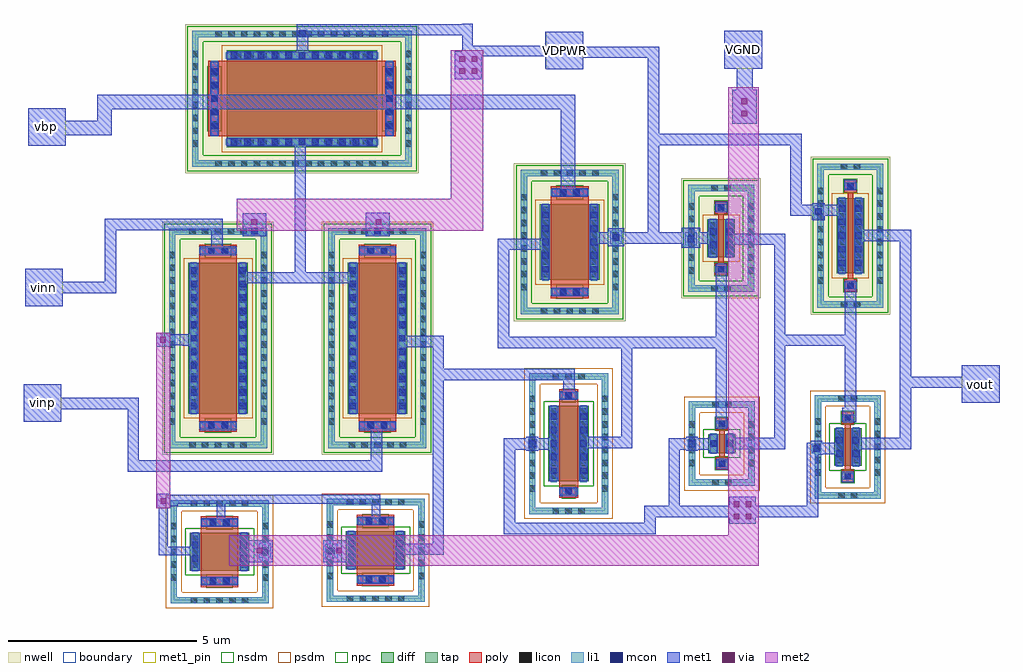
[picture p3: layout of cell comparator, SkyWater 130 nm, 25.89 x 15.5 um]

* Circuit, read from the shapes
.subckt comparator VDPWR VGND vbp vinn vinp vout
XM1 VGND sky130_fd_pr__nfet_01v8_VQB4G3_10/D sky130_fd_pr__nfet_01v8_VQB4G3_10/D VGND sky130_fd_pr__nfet_01v8 w=1 l=1
XM2 sky130_fd_pr__nfet_01v8_SH4ZB3_6/G sky130_fd_pr__nfet_01v8_VQB4G3_10/D VGND VGND sky130_fd_pr__nfet_01v8 w=1 l=1
XM3 sky130_fd_pr__pfet_01v8_7MAPG3_5/D sky130_fd_pr__nfet_01v8_SH4ZB3_6/G VGND VGND sky130_fd_pr__nfet_01v8 w=2 l=0.5
XM4 sky130_fd_pr__nfet_01v8_DQPW2K_1/G sky130_fd_pr__pfet_01v8_7MAPG3_5/D VGND VGND sky130_fd_pr__nfet_01v8 w=0.5 l=0.15
XM5 vout sky130_fd_pr__nfet_01v8_DQPW2K_1/G VGND VGND sky130_fd_pr__nfet_01v8 w=1 l=0.15
XM6 sky130_fd_pr__pfet_01v8_ZWHHE6_7/D vinn sky130_fd_pr__nfet_01v8_VQB4G3_10/D VDPWR sky130_fd_pr__pfet_01v8 w=4 l=1
XM7 VDPWR vbp sky130_fd_pr__pfet_01v8_ZWHHE6_7/D VDPWR sky130_fd_pr__pfet_01v8 w=4 l=2
XM8 sky130_fd_pr__nfet_01v8_SH4ZB3_6/G vinp sky130_fd_pr__pfet_01v8_ZWHHE6_7/D VDPWR sky130_fd_pr__pfet_01v8 w=4 l=1
XM9 VDPWR vbp sky130_fd_pr__pfet_01v8_7MAPG3_5/D VDPWR sky130_fd_pr__pfet_01v8 w=2 l=1
XM10 sky130_fd_pr__nfet_01v8_DQPW2K_1/G sky130_fd_pr__pfet_01v8_7MAPG3_5/D VDPWR VDPWR sky130_fd_pr__pfet_01v8 w=1 l=0.15
XM11 vout sky130_fd_pr__nfet_01v8_DQPW2K_1/G VDPWR VDPWR sky130_fd_pr__pfet_01v8 w=2 l=0.15
.ends

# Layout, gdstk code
from math import pi, radians
import gdstk
lib = gdstk.Library(unit=1e-6, precision=1e-09)
def R(c, l, rs):  # rectangles x0, y0, x1, y1
    for r in rs: c.add(gdstk.rectangle(r[:2], r[2:], *l))
def A(c, l, x, y, w, h, nx, ny, dx, dy):  # array of equal rectangles
    R(c, l, [(x+i*dx, y+j*dy, x+i*dx+w, y+j*dy+h) for i in range(nx) for j in range(ny)])
nwell = (64, 20)
diff = (65, 20)
tap = (65, 44)
poly = (66, 20)
licon = (66, 44)
li1 = (67, 20)
mcon = (67, 44)
met1_pin = (68, 16)
met1 = (68, 20)
via = (68, 44)
met2 = (69, 20)
nsdm = (93, 44)
psdm = (94, 20)
npc = (95, 20)
boundary = (235, 4)

sky130_fd_pr__pfet_01v8_ = lib.new_cell('sky130_fd_pr__pfet_01v8_BNUP93')
R(sky130_fd_pr__pfet_01v8_, nwell, [(-1.98,-3.095,1.98,3.095)])
R(sky130_fd_pr__pfet_01v8_, diff, [(-1.29,-2,1.29,2)])
R(sky130_fd_pr__pfet_01v8_, tap, [(-1.8,-2.915,1.8,-2.745), (-1.8,-2.745,-1.63,2.745), (1.63,-2.745,1.8,2.745), (-1.8,2.745,1.8,2.915)])
R(sky130_fd_pr__pfet_01v8_, poly, [(-1,-2.485,1,2.485)])
A(sky130_fd_pr__pfet_01v8_, licon, -1.275, -2.915, 0.17, 0.17, 8, 2, 0.34, 5.66)
A(sky130_fd_pr__pfet_01v8_, licon, -0.765, -2.405, 0.17, 0.17, 5, 2, 0.34, 4.64)
A(sky130_fd_pr__pfet_01v8_, licon, -1.8, -2.295, 0.17, 0.17, 1, 14, 0, 0.34)
A(sky130_fd_pr__pfet_01v8_, licon, 1.63, -2.295, 0.17, 0.17, 1, 14, 0, 0.34)
A(sky130_fd_pr__pfet_01v8_, licon, -1.23, -1.785, 0.17, 0.17, 1, 11, 0, 0.34)
A(sky130_fd_pr__pfet_01v8_, licon, 1.06, -1.785, 0.17, 0.17, 1, 11, 0, 0.34)
R(sky130_fd_pr__pfet_01v8_, li1, [(-1.8,-2.915,1.8,-2.745), (-1.8,-2.745,-1.63,2.745), (1.63,-2.745,1.8,2.745), (-1,-2.405,1,-2.235), (-1.23,-2.02,-1.06,2.02), (1.06,-2.02,1.23,2.02), (-1,2.235,1,2.405), (-1.8,2.745,1.8,2.915)])
A(sky130_fd_pr__pfet_01v8_, mcon, -0.805, -2.405, 0.17, 0.17, 5, 2, 0.36, 4.64)
A(sky130_fd_pr__pfet_01v8_, mcon, -1.23, -1.885, 0.17, 0.17, 1, 11, 0, 0.36)
A(sky130_fd_pr__pfet_01v8_, mcon, 1.06, -1.885, 0.17, 0.17, 1, 11, 0, 0.36)
R(sky130_fd_pr__pfet_01v8_, met1, [(-0.98,-2.435,0.98,-2.205), (-1.26,-2,-1.03,2), (1.03,-2,1.26,2), (-0.98,2.205,0.98,2.435)])
R(sky130_fd_pr__pfet_01v8_, nsdm, [(-1.925,-3.04,1.925,-2.62), (-1.925,-2.62,-1.505,2.62), (1.505,-2.62,1.925,2.62), (-1.925,2.62,1.925,3.04)])
R(sky130_fd_pr__pfet_01v8_, psdm, [(-1.415,-2.125,1.415,2.125)])
R(sky130_fd_pr__pfet_01v8_, npc, [(-0.865,-2.505,0.865,-2.135), (-0.865,2.135,0.865,2.505)])
R(sky130_fd_pr__pfet_01v8_, boundary, [(-1.715,-2.83,1.715,2.83)])
sky130_fd_pr__pfet_01v8_.add(gdstk.Label('G', (0,2.32), layer=67, texttype=5))
sky130_fd_pr__pfet_01v8_.add(gdstk.Label('S', (1.145,0), layer=67, texttype=5))
sky130_fd_pr__pfet_01v8_.add(gdstk.Label('D', (-1.145,0), layer=67, texttype=5))
sky130_fd_pr__pfet_01v8_.add(gdstk.Label('B', (0,-2.83), layer=67, texttype=5))

sky130_fd_pr__nfet_01v8_ = lib.new_cell('sky130_fd_pr__nfet_01v8_DQPW2K')
R(sky130_fd_pr__nfet_01v8_, diff, [(-0.365,-0.5,0.365,0.5)])
R(sky130_fd_pr__nfet_01v8_, tap, [(-0.875,-1.37,0.875,-1.2), (-0.875,-1.2,-0.705,1.2), (0.705,-1.2,0.875,1.2), (-0.875,1.2,0.875,1.37)])
R(sky130_fd_pr__nfet_01v8_, poly, [(-0.165,-0.94,0.165,-0.61), (-0.075,-0.61,0.075,0.61), (-0.165,0.61,0.165,0.94)])
A(sky130_fd_pr__nfet_01v8_, licon, -0.875, -0.765, 0.17, 0.17, 1, 5, 0, 0.34)
A(sky130_fd_pr__nfet_01v8_, licon, 0.705, -0.765, 0.17, 0.17, 1, 5, 0, 0.34)
A(sky130_fd_pr__nfet_01v8_, licon, -0.305, -0.425, 0.17, 0.17, 1, 3, 0, 0.34)
A(sky130_fd_pr__nfet_01v8_, licon, 0.135, -0.425, 0.17, 0.17, 1, 3, 0, 0.34)
R(sky130_fd_pr__nfet_01v8_, licon, [(-0.255,-1.37,-0.085,-1.2), (0.085,-1.37,0.255,-1.2), (-0.085,-0.86,0.085,-0.69), (-0.085,0.69,0.085,0.86), (-0.255,1.2,-0.085,1.37), (0.085,1.2,0.255,1.37)])
R(sky130_fd_pr__nfet_01v8_, li1, [(-0.875,-1.37,0.875,-1.2), (-0.875,-1.2,-0.705,1.2), (0.705,-1.2,0.875,1.2), (-0.165,-0.86,0.165,-0.69), (-0.305,-0.52,-0.135,0.52), (0.135,-0.52,0.305,0.52), (-0.165,0.69,0.165,0.86), (-0.875,1.2,0.875,1.37)])
R(sky130_fd_pr__nfet_01v8_, mcon, [(-0.085,-0.86,0.085,-0.69), (-0.305,-0.265,-0.135,-0.095), (0.135,-0.265,0.305,-0.095), (-0.305,0.095,-0.135,0.265), (0.135,0.095,0.305,0.265), (-0.085,0.69,0.085,0.86)])
R(sky130_fd_pr__nfet_01v8_, met1, [(-0.145,-0.89,0.145,-0.66), (-0.335,-0.5,-0.105,0.5), (0.105,-0.5,0.335,0.5), (-0.145,0.66,0.145,0.89)])
R(sky130_fd_pr__nfet_01v8_, nsdm, [(-0.49,-0.625,0.49,0.625)])
R(sky130_fd_pr__nfet_01v8_, psdm, [(-1,-1.495,1,-1.075), (-1,-1.075,-0.58,1.075), (0.58,-1.075,1,1.075), (-1,1.075,1,1.495)])
R(sky130_fd_pr__nfet_01v8_, npc, [(-0.185,-0.96,0.185,-0.59), (-0.185,0.59,0.185,0.96)])
R(sky130_fd_pr__nfet_01v8_, boundary, [(-0.79,-1.285,0.79,1.285)])
sky130_fd_pr__nfet_01v8_.add(gdstk.Label('G', (0,0.775), layer=67, texttype=5))
sky130_fd_pr__nfet_01v8_.add(gdstk.Label('S', (0.22,0), layer=67, texttype=5))
sky130_fd_pr__nfet_01v8_.add(gdstk.Label('D', (-0.22,0), layer=67, texttype=5))
sky130_fd_pr__nfet_01v8_.add(gdstk.Label('B', (0,-1.285), layer=67, texttype=5))

c_sky130_fd_pr__nfet_01v8_ = lib.new_cell('sky130_fd_pr__nfet_01v8_744KQH')
R(c_sky130_fd_pr__nfet_01v8_, diff, [(-0.365,-0.25,0.365,0.25)])
R(c_sky130_fd_pr__nfet_01v8_, tap, [(-0.875,-1.12,0.875,-0.95), (-0.875,-0.95,-0.705,0.95), (0.705,-0.95,0.875,0.95), (-0.875,0.95,0.875,1.12)])
R(c_sky130_fd_pr__nfet_01v8_, poly, [(-0.165,-0.69,0.165,-0.36), (-0.075,-0.36,0.075,0.36), (-0.165,0.36,0.165,0.69)])
A(c_sky130_fd_pr__nfet_01v8_, licon, -0.875, -0.595, 0.17, 0.17, 1, 4, 0, 0.34)
A(c_sky130_fd_pr__nfet_01v8_, licon, 0.705, -0.595, 0.17, 0.17, 1, 4, 0, 0.34)
R(c_sky130_fd_pr__nfet_01v8_, licon, [(-0.255,-1.12,-0.085,-0.95), (0.085,-1.12,0.255,-0.95), (-0.085,-0.61,0.085,-0.44), (-0.305,-0.085,-0.135,0.085), (0.135,-0.085,0.305,0.085), (-0.085,0.44,0.085,0.61), (-0.255,0.95,-0.085,1.12), (0.085,0.95,0.255,1.12)])
R(c_sky130_fd_pr__nfet_01v8_, li1, [(-0.875,-1.12,0.875,-0.95), (-0.875,-0.95,-0.705,0.95), (0.705,-0.95,0.875,0.95), (-0.165,-0.61,0.165,-0.44), (-0.305,-0.27,-0.135,0.27), (0.135,-0.27,0.305,0.27), (-0.165,0.44,0.165,0.61), (-0.875,0.95,0.875,1.12)])
R(c_sky130_fd_pr__nfet_01v8_, mcon, [(-0.085,-0.61,0.085,-0.44), (-0.305,-0.085,-0.135,0.085), (0.135,-0.085,0.305,0.085), (-0.085,0.44,0.085,0.61)])
R(c_sky130_fd_pr__nfet_01v8_, met1, [(-0.145,-0.64,0.145,-0.41), (-0.335,-0.25,-0.105,0.25), (0.105,-0.25,0.335,0.25), (-0.145,0.41,0.145,0.64)])
R(c_sky130_fd_pr__nfet_01v8_, nsdm, [(-0.49,-0.375,0.49,0.375)])
R(c_sky130_fd_pr__nfet_01v8_, psdm, [(-1,-1.245,1,-0.825), (-1,-0.825,-0.58,0.825), (0.58,-0.825,1,0.825), (-1,0.825,1,1.245)])
R(c_sky130_fd_pr__nfet_01v8_, npc, [(-0.185,-0.71,0.185,-0.34), (-0.185,0.34,0.185,0.71)])
R(c_sky130_fd_pr__nfet_01v8_, boundary, [(-0.79,-1.035,0.79,1.035)])
c_sky130_fd_pr__nfet_01v8_.add(gdstk.Label('G', (0,0.525), layer=67, texttype=5))
c_sky130_fd_pr__nfet_01v8_.add(gdstk.Label('S', (0.22,0), layer=67, texttype=5))
c_sky130_fd_pr__nfet_01v8_.add(gdstk.Label('D', (-0.22,0), layer=67, texttype=5))
c_sky130_fd_pr__nfet_01v8_.add(gdstk.Label('B', (0,-1.035), layer=67, texttype=5))

c_sky130_fd_pr__pfet_01v8_ = lib.new_cell('sky130_fd_pr__pfet_01v8_2HL26M')
R(c_sky130_fd_pr__pfet_01v8_, nwell, [(-1.055,-2.095,1.055,2.095)])
R(c_sky130_fd_pr__pfet_01v8_, diff, [(-0.365,-1,0.365,1)])
R(c_sky130_fd_pr__pfet_01v8_, tap, [(-0.875,-1.915,0.875,-1.745), (-0.875,-1.745,-0.705,1.745), (0.705,-1.745,0.875,1.745), (-0.875,1.745,0.875,1.915)])
R(c_sky130_fd_pr__pfet_01v8_, poly, [(-0.165,-1.485,0.165,-1.155), (-0.075,-1.155,0.075,1.155), (-0.165,1.155,0.165,1.485)])
A(c_sky130_fd_pr__pfet_01v8_, licon, -0.875, -1.275, 0.17, 0.17, 1, 8, 0, 0.34)
A(c_sky130_fd_pr__pfet_01v8_, licon, 0.705, -1.275, 0.17, 0.17, 1, 8, 0, 0.34)
A(c_sky130_fd_pr__pfet_01v8_, licon, -0.305, -0.935, 0.17, 0.17, 1, 6, 0, 0.34)
A(c_sky130_fd_pr__pfet_01v8_, licon, 0.135, -0.935, 0.17, 0.17, 1, 6, 0, 0.34)
R(c_sky130_fd_pr__pfet_01v8_, licon, [(-0.255,-1.915,-0.085,-1.745), (0.085,-1.915,0.255,-1.745), (-0.085,-1.405,0.085,-1.235), (-0.085,1.235,0.085,1.405), (-0.255,1.745,-0.085,1.915), (0.085,1.745,0.255,1.915)])
R(c_sky130_fd_pr__pfet_01v8_, li1, [(-0.875,-1.915,0.875,-1.745), (-0.875,-1.745,-0.705,1.745), (0.705,-1.745,0.875,1.745), (-0.165,-1.405,0.165,-1.235), (-0.305,-1.02,-0.135,1.02), (0.135,-1.02,0.305,1.02), (-0.165,1.235,0.165,1.405), (-0.875,1.745,0.875,1.915)])
A(c_sky130_fd_pr__pfet_01v8_, mcon, -0.305, -0.805, 0.17, 0.17, 1, 5, 0, 0.36)
A(c_sky130_fd_pr__pfet_01v8_, mcon, 0.135, -0.805, 0.17, 0.17, 1, 5, 0, 0.36)
R(c_sky130_fd_pr__pfet_01v8_, mcon, [(-0.085,-1.405,0.085,-1.235), (-0.085,1.235,0.085,1.405)])
R(c_sky130_fd_pr__pfet_01v8_, met1, [(-0.145,-1.435,0.145,-1.205), (-0.335,-1,-0.105,1), (0.105,-1,0.335,1), (-0.145,1.205,0.145,1.435)])
R(c_sky130_fd_pr__pfet_01v8_, nsdm, [(-1,-2.04,1,-1.62), (-1,-1.62,-0.58,1.62), (0.58,-1.62,1,1.62), (-1,1.62,1,2.04)])
R(c_sky130_fd_pr__pfet_01v8_, psdm, [(-0.49,-1.125,0.49,1.125)])
R(c_sky130_fd_pr__pfet_01v8_, npc, [(-0.185,-1.505,0.185,-1.135), (-0.185,1.135,0.185,1.505)])
R(c_sky130_fd_pr__pfet_01v8_, boundary, [(-0.79,-1.83,0.79,1.83)])
c_sky130_fd_pr__pfet_01v8_.add(gdstk.Label('G', (0,1.32), layer=67, texttype=5))
c_sky130_fd_pr__pfet_01v8_.add(gdstk.Label('S', (0.22,0), layer=67, texttype=5))
c_sky130_fd_pr__pfet_01v8_.add(gdstk.Label('D', (-0.22,0), layer=67, texttype=5))
c_sky130_fd_pr__pfet_01v8_.add(gdstk.Label('B', (0,-1.83), layer=67, texttype=5))

c_sky130_fd_pr__pfet_01v8__ = lib.new_cell('sky130_fd_pr__pfet_01v8_MF9HY2')
R(c_sky130_fd_pr__pfet_01v8__, nwell, [(-1.055,-1.595,1.055,1.595)])
R(c_sky130_fd_pr__pfet_01v8__, diff, [(-0.365,-0.5,0.365,0.5)])
R(c_sky130_fd_pr__pfet_01v8__, tap, [(-0.875,-1.415,0.875,-1.245), (-0.875,-1.245,-0.705,1.245), (0.705,-1.245,0.875,1.245), (-0.875,1.245,0.875,1.415)])
R(c_sky130_fd_pr__pfet_01v8__, poly, [(-0.165,-0.985,0.165,-0.655), (-0.075,-0.655,0.075,0.655), (-0.165,0.655,0.165,0.985)])
A(c_sky130_fd_pr__pfet_01v8__, licon, -0.875, -0.935, 0.17, 0.17, 1, 6, 0, 0.34)
A(c_sky130_fd_pr__pfet_01v8__, licon, 0.705, -0.935, 0.17, 0.17, 1, 6, 0, 0.34)
A(c_sky130_fd_pr__pfet_01v8__, licon, -0.305, -0.425, 0.17, 0.17, 1, 3, 0, 0.34)
A(c_sky130_fd_pr__pfet_01v8__, licon, 0.135, -0.425, 0.17, 0.17, 1, 3, 0, 0.34)
R(c_sky130_fd_pr__pfet_01v8__, licon, [(-0.255,-1.415,-0.085,-1.245), (0.085,-1.415,0.255,-1.245), (-0.085,-0.905,0.085,-0.735), (-0.085,0.735,0.085,0.905), (-0.255,1.245,-0.085,1.415), (0.085,1.245,0.255,1.415)])
R(c_sky130_fd_pr__pfet_01v8__, li1, [(-0.875,-1.415,0.875,-1.245), (-0.875,-1.245,-0.705,1.245), (0.705,-1.245,0.875,1.245), (-0.165,-0.905,0.165,-0.735), (-0.305,-0.52,-0.135,0.52), (0.135,-0.52,0.305,0.52), (-0.165,0.735,0.165,0.905), (-0.875,1.245,0.875,1.415)])
R(c_sky130_fd_pr__pfet_01v8__, mcon, [(-0.085,-0.905,0.085,-0.735), (-0.305,-0.265,-0.135,-0.095), (0.135,-0.265,0.305,-0.095), (-0.305,0.095,-0.135,0.265), (0.135,0.095,0.305,0.265), (-0.085,0.735,0.085,0.905)])
R(c_sky130_fd_pr__pfet_01v8__, met1, [(-0.145,-0.935,0.145,-0.705), (-0.335,-0.5,-0.105,0.5), (0.105,-0.5,0.335,0.5), (-0.145,0.705,0.145,0.935)])
R(c_sky130_fd_pr__pfet_01v8__, nsdm, [(-1,-1.54,1,-1.12), (-1,-1.12,-0.58,1.12), (0.58,-1.12,1,1.12), (-1,1.12,1,1.54)])
R(c_sky130_fd_pr__pfet_01v8__, psdm, [(-0.49,-0.625,0.49,0.625)])
R(c_sky130_fd_pr__pfet_01v8__, npc, [(-0.185,-1.005,0.185,-0.635), (-0.185,0.635,0.185,1.005)])
R(c_sky130_fd_pr__pfet_01v8__, boundary, [(-0.79,-1.33,0.79,1.33)])
c_sky130_fd_pr__pfet_01v8__.add(gdstk.Label('G', (0,0.82), layer=67, texttype=5))
c_sky130_fd_pr__pfet_01v8__.add(gdstk.Label('S', (0.22,0), layer=67, texttype=5))
c_sky130_fd_pr__pfet_01v8__.add(gdstk.Label('D', (-0.22,0), layer=67, texttype=5))
c_sky130_fd_pr__pfet_01v8__.add(gdstk.Label('B', (0,-1.33), layer=67, texttype=5))

c_sky130_fd_pr__pfet_01v8___ = lib.new_cell('sky130_fd_pr__pfet_01v8_7MAPG3')
R(c_sky130_fd_pr__pfet_01v8___, nwell, [(-1.48,-2.095,1.48,2.095)])
R(c_sky130_fd_pr__pfet_01v8___, diff, [(-0.79,-1,0.79,1)])
R(c_sky130_fd_pr__pfet_01v8___, tap, [(-1.3,-1.915,1.3,-1.745), (-1.3,-1.745,-1.13,1.745), (1.13,-1.745,1.3,1.745), (-1.3,1.745,1.3,1.915)])
R(c_sky130_fd_pr__pfet_01v8___, poly, [(-0.5,-1.485,0.5,1.485)])
A(c_sky130_fd_pr__pfet_01v8___, licon, -0.765, -1.915, 0.17, 0.17, 5, 2, 0.34, 3.66)
A(c_sky130_fd_pr__pfet_01v8___, licon, -1.3, -1.275, 0.17, 0.17, 1, 8, 0, 0.34)
A(c_sky130_fd_pr__pfet_01v8___, licon, 1.13, -1.275, 0.17, 0.17, 1, 8, 0, 0.34)
A(c_sky130_fd_pr__pfet_01v8___, licon, -0.73, -0.935, 0.17, 0.17, 1, 6, 0, 0.34)
A(c_sky130_fd_pr__pfet_01v8___, licon, 0.56, -0.935, 0.17, 0.17, 1, 6, 0, 0.34)
R(c_sky130_fd_pr__pfet_01v8___, licon, [(-0.255,-1.405,-0.085,-1.235), (0.085,-1.405,0.255,-1.235), (-0.255,1.235,-0.085,1.405), (0.085,1.235,0.255,1.405)])
R(c_sky130_fd_pr__pfet_01v8___, li1, [(-1.3,-1.915,1.3,-1.745), (-1.3,-1.745,-1.13,1.745), (1.13,-1.745,1.3,1.745), (-0.5,-1.405,0.5,-1.235), (-0.73,-1.02,-0.56,1.02), (0.56,-1.02,0.73,1.02), (-0.5,1.235,0.5,1.405), (-1.3,1.745,1.3,1.915)])
A(c_sky130_fd_pr__pfet_01v8___, mcon, -0.73, -0.805, 0.17, 0.17, 1, 5, 0, 0.36)
A(c_sky130_fd_pr__pfet_01v8___, mcon, 0.56, -0.805, 0.17, 0.17, 1, 5, 0, 0.36)
R(c_sky130_fd_pr__pfet_01v8___, mcon, [(-0.265,-1.405,-0.095,-1.235), (0.095,-1.405,0.265,-1.235), (-0.265,1.235,-0.095,1.405), (0.095,1.235,0.265,1.405)])
R(c_sky130_fd_pr__pfet_01v8___, met1, [(-0.48,-1.435,0.48,-1.205), (-0.76,-1,-0.53,1), (0.53,-1,0.76,1), (-0.48,1.205,0.48,1.435)])
R(c_sky130_fd_pr__pfet_01v8___, nsdm, [(-1.425,-2.04,1.425,-1.62), (-1.425,-1.62,-1.005,1.62), (1.005,-1.62,1.425,1.62), (-1.425,1.62,1.425,2.04)])
R(c_sky130_fd_pr__pfet_01v8___, psdm, [(-0.915,-1.125,0.915,1.125)])
R(c_sky130_fd_pr__pfet_01v8___, npc, [(-0.355,-1.505,0.355,-1.135), (-0.355,1.135,0.355,1.505)])
R(c_sky130_fd_pr__pfet_01v8___, boundary, [(-1.215,-1.83,1.215,1.83)])
c_sky130_fd_pr__pfet_01v8___.add(gdstk.Label('G', (0,1.32), layer=67, texttype=5))
c_sky130_fd_pr__pfet_01v8___.add(gdstk.Label('S', (0.645,0), layer=67, texttype=5))
c_sky130_fd_pr__pfet_01v8___.add(gdstk.Label('D', (-0.645,0), layer=67, texttype=5))
c_sky130_fd_pr__pfet_01v8___.add(gdstk.Label('B', (0,-1.83), layer=67, texttype=5))

c_sky130_fd_pr__nfet_01v8__ = lib.new_cell('sky130_fd_pr__nfet_01v8_SH4ZB3')
R(c_sky130_fd_pr__nfet_01v8__, diff, [(-0.54,-1,0.54,1)])
R(c_sky130_fd_pr__nfet_01v8__, tap, [(-1.05,-1.87,1.05,-1.7), (-1.05,-1.7,-0.88,1.7), (0.88,-1.7,1.05,1.7), (-1.05,1.7,1.05,1.87)])
R(c_sky130_fd_pr__nfet_01v8__, poly, [(-0.25,-1.44,0.25,1.44)])
A(c_sky130_fd_pr__nfet_01v8__, licon, -0.425, -1.87, 0.17, 0.17, 3, 2, 0.34, 3.57)
A(c_sky130_fd_pr__nfet_01v8__, licon, -1.05, -1.275, 0.17, 0.17, 1, 8, 0, 0.34)
A(c_sky130_fd_pr__nfet_01v8__, licon, 0.88, -1.275, 0.17, 0.17, 1, 8, 0, 0.34)
A(c_sky130_fd_pr__nfet_01v8__, licon, -0.48, -0.935, 0.17, 0.17, 1, 6, 0, 0.34)
A(c_sky130_fd_pr__nfet_01v8__, licon, 0.31, -0.935, 0.17, 0.17, 1, 6, 0, 0.34)
R(c_sky130_fd_pr__nfet_01v8__, licon, [(-0.085,-1.36,0.085,-1.19), (-0.085,1.19,0.085,1.36)])
R(c_sky130_fd_pr__nfet_01v8__, li1, [(-1.05,-1.87,1.05,-1.7), (-1.05,-1.7,-0.88,1.7), (0.88,-1.7,1.05,1.7), (-0.25,-1.36,0.25,-1.19), (-0.48,-1.02,-0.31,1.02), (0.31,-1.02,0.48,1.02), (-0.25,1.19,0.25,1.36), (-1.05,1.7,1.05,1.87)])
A(c_sky130_fd_pr__nfet_01v8__, mcon, -0.48, -0.805, 0.17, 0.17, 1, 5, 0, 0.36)
A(c_sky130_fd_pr__nfet_01v8__, mcon, 0.31, -0.805, 0.17, 0.17, 1, 5, 0, 0.36)
R(c_sky130_fd_pr__nfet_01v8__, mcon, [(-0.085,-1.36,0.085,-1.19), (-0.085,1.19,0.085,1.36)])
R(c_sky130_fd_pr__nfet_01v8__, met1, [(-0.23,-1.39,0.23,-1.16), (-0.51,-1,-0.28,1), (0.28,-1,0.51,1), (-0.23,1.16,0.23,1.39)])
R(c_sky130_fd_pr__nfet_01v8__, nsdm, [(-0.665,-1.125,0.665,1.125)])
R(c_sky130_fd_pr__nfet_01v8__, psdm, [(-1.175,-1.995,1.175,-1.575), (-1.175,-1.575,-0.755,1.575), (0.755,-1.575,1.175,1.575), (-1.175,1.575,1.175,1.995)])
R(c_sky130_fd_pr__nfet_01v8__, npc, [(-0.185,-1.46,0.185,-1.09), (-0.185,1.09,0.185,1.46)])
R(c_sky130_fd_pr__nfet_01v8__, boundary, [(-0.965,-1.785,0.965,1.785)])
c_sky130_fd_pr__nfet_01v8__.add(gdstk.Label('G', (0,1.275), layer=67, texttype=5))
c_sky130_fd_pr__nfet_01v8__.add(gdstk.Label('S', (0.395,0), layer=67, texttype=5))
c_sky130_fd_pr__nfet_01v8__.add(gdstk.Label('D', (-0.395,0), layer=67, texttype=5))
c_sky130_fd_pr__nfet_01v8__.add(gdstk.Label('B', (0,-1.785), layer=67, texttype=5))

c_sky130_fd_pr__pfet_01v8____ = lib.new_cell('sky130_fd_pr__pfet_01v8_ZWHHE6')
R(c_sky130_fd_pr__pfet_01v8____, nwell, [(-1.48,-3.095,1.48,3.095)])
R(c_sky130_fd_pr__pfet_01v8____, diff, [(-0.79,-2,0.79,2)])
R(c_sky130_fd_pr__pfet_01v8____, tap, [(-1.3,-2.915,1.3,-2.745), (-1.3,-2.745,-1.13,2.745), (1.13,-2.745,1.3,2.745), (-1.3,2.745,1.3,2.915)])
R(c_sky130_fd_pr__pfet_01v8____, poly, [(-0.5,-2.485,0.5,2.485)])
A(c_sky130_fd_pr__pfet_01v8____, licon, -0.765, -2.915, 0.17, 0.17, 5, 2, 0.34, 5.66)
A(c_sky130_fd_pr__pfet_01v8____, licon, -1.3, -2.295, 0.17, 0.17, 1, 14, 0, 0.34)
A(c_sky130_fd_pr__pfet_01v8____, licon, 1.13, -2.295, 0.17, 0.17, 1, 14, 0, 0.34)
A(c_sky130_fd_pr__pfet_01v8____, licon, -0.73, -1.785, 0.17, 0.17, 1, 11, 0, 0.34)
A(c_sky130_fd_pr__pfet_01v8____, licon, 0.56, -1.785, 0.17, 0.17, 1, 11, 0, 0.34)
R(c_sky130_fd_pr__pfet_01v8____, licon, [(-0.255,-2.405,-0.085,-2.235), (0.085,-2.405,0.255,-2.235), (-0.255,2.235,-0.085,2.405), (0.085,2.235,0.255,2.405)])
R(c_sky130_fd_pr__pfet_01v8____, li1, [(-1.3,-2.915,1.3,-2.745), (-1.3,-2.745,-1.13,2.745), (1.13,-2.745,1.3,2.745), (-0.5,-2.405,0.5,-2.235), (-0.73,-2.02,-0.56,2.02), (0.56,-2.02,0.73,2.02), (-0.5,2.235,0.5,2.405), (-1.3,2.745,1.3,2.915)])
A(c_sky130_fd_pr__pfet_01v8____, mcon, -0.73, -1.885, 0.17, 0.17, 1, 11, 0, 0.36)
A(c_sky130_fd_pr__pfet_01v8____, mcon, 0.56, -1.885, 0.17, 0.17, 1, 11, 0, 0.36)
R(c_sky130_fd_pr__pfet_01v8____, mcon, [(-0.265,-2.405,-0.095,-2.235), (0.095,-2.405,0.265,-2.235), (-0.265,2.235,-0.095,2.405), (0.095,2.235,0.265,2.405)])
R(c_sky130_fd_pr__pfet_01v8____, met1, [(-0.48,-2.435,0.48,-2.205), (-0.76,-2,-0.53,2), (0.53,-2,0.76,2), (-0.48,2.205,0.48,2.435)])
R(c_sky130_fd_pr__pfet_01v8____, nsdm, [(-1.425,-3.04,1.425,-2.62), (-1.425,-2.62,-1.005,2.62), (1.005,-2.62,1.425,2.62), (-1.425,2.62,1.425,3.04)])
R(c_sky130_fd_pr__pfet_01v8____, psdm, [(-0.915,-2.125,0.915,2.125)])
R(c_sky130_fd_pr__pfet_01v8____, npc, [(-0.355,-2.505,0.355,-2.135), (-0.355,2.135,0.355,2.505)])
R(c_sky130_fd_pr__pfet_01v8____, boundary, [(-1.215,-2.83,1.215,2.83)])
c_sky130_fd_pr__pfet_01v8____.add(gdstk.Label('G', (0,2.32), layer=67, texttype=5))
c_sky130_fd_pr__pfet_01v8____.add(gdstk.Label('S', (0.645,0), layer=67, texttype=5))
c_sky130_fd_pr__pfet_01v8____.add(gdstk.Label('D', (-0.645,0), layer=67, texttype=5))
c_sky130_fd_pr__pfet_01v8____.add(gdstk.Label('B', (0,-2.83), layer=67, texttype=5))

c_sky130_fd_pr__nfet_01v8___ = lib.new_cell('sky130_fd_pr__nfet_01v8_VQB4G3')
R(c_sky130_fd_pr__nfet_01v8___, diff, [(-0.79,-0.5,0.79,0.5)])
R(c_sky130_fd_pr__nfet_01v8___, tap, [(-1.3,-1.37,1.3,-1.2), (-1.3,-1.2,-1.13,1.2), (1.13,-1.2,1.3,1.2), (-1.3,1.2,1.3,1.37)])
R(c_sky130_fd_pr__nfet_01v8___, poly, [(-0.5,-0.94,0.5,0.94)])
A(c_sky130_fd_pr__nfet_01v8___, licon, -0.765, -1.37, 0.17, 0.17, 5, 2, 0.34, 2.57)
A(c_sky130_fd_pr__nfet_01v8___, licon, -1.3, -0.765, 0.17, 0.17, 1, 5, 0, 0.34)
A(c_sky130_fd_pr__nfet_01v8___, licon, 1.13, -0.765, 0.17, 0.17, 1, 5, 0, 0.34)
A(c_sky130_fd_pr__nfet_01v8___, licon, -0.73, -0.425, 0.17, 0.17, 1, 3, 0, 0.34)
A(c_sky130_fd_pr__nfet_01v8___, licon, 0.56, -0.425, 0.17, 0.17, 1, 3, 0, 0.34)
R(c_sky130_fd_pr__nfet_01v8___, licon, [(-0.255,-0.86,-0.085,-0.69), (0.085,-0.86,0.255,-0.69), (-0.255,0.69,-0.085,0.86), (0.085,0.69,0.255,0.86)])
R(c_sky130_fd_pr__nfet_01v8___, li1, [(-1.3,-1.37,1.3,-1.2), (-1.3,-1.2,-1.13,1.2), (1.13,-1.2,1.3,1.2), (-0.5,-0.86,0.5,-0.69), (-0.73,-0.52,-0.56,0.52), (0.56,-0.52,0.73,0.52), (-0.5,0.69,0.5,0.86), (-1.3,1.2,1.3,1.37)])
R(c_sky130_fd_pr__nfet_01v8___, mcon, [(-0.265,-0.86,-0.095,-0.69), (0.095,-0.86,0.265,-0.69), (-0.73,-0.265,-0.56,-0.095), (0.56,-0.265,0.73,-0.095), (-0.73,0.095,-0.56,0.265), (0.56,0.095,0.73,0.265), (-0.265,0.69,-0.095,0.86), (0.095,0.69,0.265,0.86)])
R(c_sky130_fd_pr__nfet_01v8___, met1, [(-0.48,-0.89,0.48,-0.66), (-0.76,-0.5,-0.53,0.5), (0.53,-0.5,0.76,0.5), (-0.48,0.66,0.48,0.89)])
R(c_sky130_fd_pr__nfet_01v8___, nsdm, [(-0.915,-0.625,0.915,0.625)])
R(c_sky130_fd_pr__nfet_01v8___, psdm, [(-1.425,-1.495,1.425,-1.075), (-1.425,-1.075,-1.005,1.075), (1.005,-1.075,1.425,1.075), (-1.425,1.075,1.425,1.495)])
R(c_sky130_fd_pr__nfet_01v8___, npc, [(-0.355,-0.96,0.355,-0.59), (-0.355,0.59,0.355,0.96)])
R(c_sky130_fd_pr__nfet_01v8___, boundary, [(-1.215,-1.285,1.215,1.285)])
c_sky130_fd_pr__nfet_01v8___.add(gdstk.Label('G', (0,0.775), layer=67, texttype=5))
c_sky130_fd_pr__nfet_01v8___.add(gdstk.Label('S', (0.645,0), layer=67, texttype=5))
c_sky130_fd_pr__nfet_01v8___.add(gdstk.Label('D', (-0.645,0), layer=67, texttype=5))
c_sky130_fd_pr__nfet_01v8___.add(gdstk.Label('B', (0,-1.285), layer=67, texttype=5))

comparator = lib.new_cell('comparator')
R(comparator, li1, [(2.14,-26.82,2.46,-26.43), (0.37,-26.81,0.69,-26.42), (15.04,-24.04,15.29,-23.78), (11.75,-23.93,11.97,-23.66), (7.52,-23.92,7.74,-23.65), (11.69,-18.52,11.99,-18.18), (9.7,-18.48,10,-18.14), (0.02,-18.24,0.5,-18.05), (3.28,-18.24,3.76,-18.05), (15.1,-17.82,15.27,-17.79), (15.1,-17.79,15.33,-17.46), (1.42,-12.99,1.64,-12.82)])
R(comparator, mcon, [(2.215,-26.71,2.385,-26.54), (0.445,-26.7,0.615,-26.53), (15.08,-23.995,15.25,-23.825), (11.775,-23.88,11.945,-23.71), (7.545,-23.87,7.715,-23.7), (11.755,-18.435,11.925,-18.265), (9.765,-18.395,9.935,-18.225), (0.175,-18.23,0.345,-18.06), (3.435,-18.23,3.605,-18.06), (15.13,-17.71,15.3,-17.54), (1.445,-12.99,1.615,-12.82)])
R(comparator, met1_pin, [(-5.87,-23.2,-4.87,-22.2), (19.02,-22.7,20.02,-21.7), (-5.83,-20.14,-4.83,-19.14), (-5.75,-15.88,-4.75,-14.88), (7.98,-13.85,8.98,-12.85), (12.72,-13.83,13.72,-12.83)])
R(comparator, met1, [(-0.03,-26.93,0.74,-26.34), (2.08,-26.93,2.85,-26.34), (-2.28,-26.745,-1.275,-26.515), (4.16,-26.73,5.28,-26.43), (-2.28,-26.515,-2.05,-25.49), (4.98,-26.43,5.28,-22.1), (6.87,-26.18,10.9,-25.88), (12.85,-25.91,13.56,-25.73), (-0.745,-25.895,-0.515,-25.37), (6.87,-25.88,7.17,-23.94), (10.6,-25.88,10.9,-25.73), (3.365,-25.865,3.595,-25.37), (10.6,-25.73,15.21,-25.43), (-2.34,-25.49,-1.98,-25.44), (-2.34,-25.44,-1.78,-25.37), (11.24,-25.43,11.54,-23.94), (12.85,-25.43,13.56,-25.19), (14.91,-25.43,15.21,-24.07), (-2.34,-25.37,3.595,-25.14), (-2.34,-25.14,-1.98,-25.11), (15.84,-24.8,16.16,-24.52), (-3.11,-24.52,3.64,-24.22), (12.5,-24.46,12.82,-24.18), (-3.11,-24.22,-2.81,-22.87), (3.34,-24.22,3.64,-23.27), (14.91,-24.07,15.32,-24.06), (14.91,-24.06,15.81,-23.76), (7.47,-23.97,7.78,-23.94), (11.71,-23.97,12.02,-23.94), (6.87,-23.94,8.16,-23.64), (11.24,-23.94,12.48,-23.64), (12.83,-23.93,14.34,-23.63), (16.21,-23.93,17.68,-23.63), (8.96,-23.9,10.28,-23.6), (15.01,-23.76,15.32,-23.7), (7.47,-23.64,7.78,-23.6), (11.71,-23.64,12.02,-23.6), (14.04,-23.63,14.34,-21.19), (17.38,-23.63,17.68,-22.3), (9.98,-23.6,10.28,-21.25), (12.49,-23.38,12.79,-21.25), (15.85,-23.21,16.22,-22.83), (-5.87,-23.2,-4.87,-22.87), (-5.87,-22.87,-2.81,-22.57), (15.92,-22.83,16.22,-21.19), (19.02,-22.7,20.02,-22.3), (8.45,-22.6,8.75,-22.1), (-5.87,-22.57,-4.87,-22.2), (17.38,-22.3,20.02,-22), (4.98,-22.1,8.75,-21.8), (17.38,-22,17.68,-18.41), (19.02,-22,20.02,-21.7), (4.98,-21.8,5.28,-21.22), (6.71,-21.25,12.79,-20.95), (4.14,-21.22,5.28,-20.92), (-2.35,-21.21,-1.98,-21.175), (14.04,-21.19,16.22,-20.89), (-1.65,-21.18,-1.35,-21.175), (-2.35,-21.175,-1.35,-20.88), (6.71,-20.95,7.01,-18.64), (12.49,-20.95,12.79,-19.01), (14.04,-20.89,14.34,-18.51), (15.92,-20.89,16.22,-19.46), (-2.35,-20.88,-1.98,-20.84), (-5.83,-20.14,-4.83,-19.79), (-5.83,-19.79,-3.41,-19.49), (-0.1,-19.53,2.9,-19.23), (-5.83,-19.49,-4.83,-19.14), (-3.71,-19.49,-3.41,-18.12), (1.32,-19.23,1.62,-15.73), (6.71,-18.64,7.97,-18.34), (-0.89,-18.63,-0.59,-18.12), (11.59,-18.59,12.08,-18.48), (9.64,-18.54,10.07,-18.48), (12.83,-18.51,14.34,-18.21), (9.3,-18.48,12.43,-18.18), (16.29,-18.41,17.68,-18.11), (-0.06,-18.28,0.57,-17.67), (3.21,-18.28,3.84,-17.66), (9.64,-18.18,10.07,-18.07), (10.69,-18.18,10.99,-15.86), (11.59,-18.18,12.08,-18.05), (-3.71,-18.12,-0.59,-17.82), (15.05,-17.86,15.39,-17.74), (14.47,-17.74,15.85,-17.44), (12.48,-17.64,12.8,-17.36), (14.47,-17.44,14.77,-15.86), (15.05,-17.44,15.39,-17.4), (8.375,-17.095,8.765,-14.915), (15.9,-17.06,16.22,-16.78), (-5.75,-15.88,-4.75,-15.6), (10.69,-15.86,14.77,-15.56), (-5.75,-15.6,-3.525,-15.21), (10.69,-15.56,10.99,-13.55), (12.93,-15.3,13.58,-14.39), (-5.75,-15.21,-4.75,-14.88), (-3.915,-15.21,-3.525,-14.915), (-3.915,-14.915,8.765,-14.525), (13.05,-14.39,13.47,-13.83), (5.57,-14.12,6.28,-13.51), (7.98,-13.85,8.98,-13.82), (12.72,-13.83,13.72,-12.83), (7.97,-13.82,8.98,-13.55), (7.97,-13.55,10.99,-13.51), (5.57,-13.51,10.99,-13.37), (1.38,-13.44,1.68,-12.95), (5.77,-13.37,10.99,-13.25), (5.77,-13.25,8.98,-13.23), (5.77,-13.23,6.05,-12.95), (7.97,-13.23,8.98,-12.85), (1.38,-12.95,6.05,-12.65), (5.77,-12.65,6.05,-12.645)])
R(comparator, via, [(0.315,-26.69,0.465,-26.54), (2.425,-26.69,2.575,-26.54), (12.97,-25.785,13.12,-25.635), (13.29,-25.785,13.44,-25.635), (12.97,-25.465,13.12,-25.315), (13.29,-25.465,13.44,-25.315), (-2.235,-25.38,-2.085,-25.23), (-2.24,-21.1,-2.09,-20.95), (0.175,-17.975,0.325,-17.825), (3.475,-17.975,3.625,-17.825), (13.175,-15.095,13.325,-14.945), (13.175,-14.775,13.325,-14.625), (5.695,-13.975,5.845,-13.825), (6.015,-13.975,6.165,-13.825), (5.695,-13.655,5.845,-13.505), (6.015,-13.655,6.165,-13.505)])
R(comparator, met2, [(-0.41,-27.02,13.63,-26.21), (12.82,-26.21,13.63,-14.94), (-2.35,-25.495,-1.98,-20.84), (-0.21,-18.13,6.33,-17.28), (5.47,-17.28,6.33,-13.34), (12.82,-14.94,13.635,-14.685), (12.825,-14.685,13.635,-14.325)])
comparator.add(gdstk.Reference(sky130_fd_pr__pfet_01v8_, (1.515,-14.63), rotation=3*pi/2))
comparator.add(gdstk.Reference(sky130_fd_pr__nfet_01v8_, (15.995,-23.87)))
comparator.add(gdstk.Reference(c_sky130_fd_pr__nfet_01v8_, (12.655,-23.78)))
comparator.add(gdstk.Reference(c_sky130_fd_pr__pfet_01v8_, (16.065,-18.265)))
comparator.add(gdstk.Reference(c_sky130_fd_pr__pfet_01v8__, (12.635,-18.335)))
comparator.add(gdstk.Reference(c_sky130_fd_pr__pfet_01v8___, (8.62,-18.435)))
comparator.add(gdstk.Reference(c_sky130_fd_pr__nfet_01v8__, (8.59,-23.78)))
comparator.add(gdstk.Reference(c_sky130_fd_pr__pfet_01v8____, (3.52,-20.985)))
comparator.add(gdstk.Reference(c_sky130_fd_pr__pfet_01v8____, (-0.71,-20.985)))
comparator.add(gdstk.Reference(c_sky130_fd_pr__nfet_01v8___, (3.47,-26.61)))
comparator.add(gdstk.Reference(c_sky130_fd_pr__nfet_01v8___, (-0.67,-26.65)))
comparator.add(gdstk.Label('vout', (19.52,-22.2), layer=68, texttype=5))
comparator.add(gdstk.Label('vbp', (-5.25,-15.38), layer=68, texttype=5))
comparator.add(gdstk.Label('vinp', (-5.37,-22.7), layer=68, texttype=5))
comparator.add(gdstk.Label('vinn', (-5.33,-19.64), layer=68, texttype=5))
comparator.add(gdstk.Label('VGND', (13.22,-13.33), layer=68, texttype=5))
comparator.add(gdstk.Label('VDPWR', (8.48,-13.35), layer=68, texttype=5))

lib.write_gds('comparator.gds')
